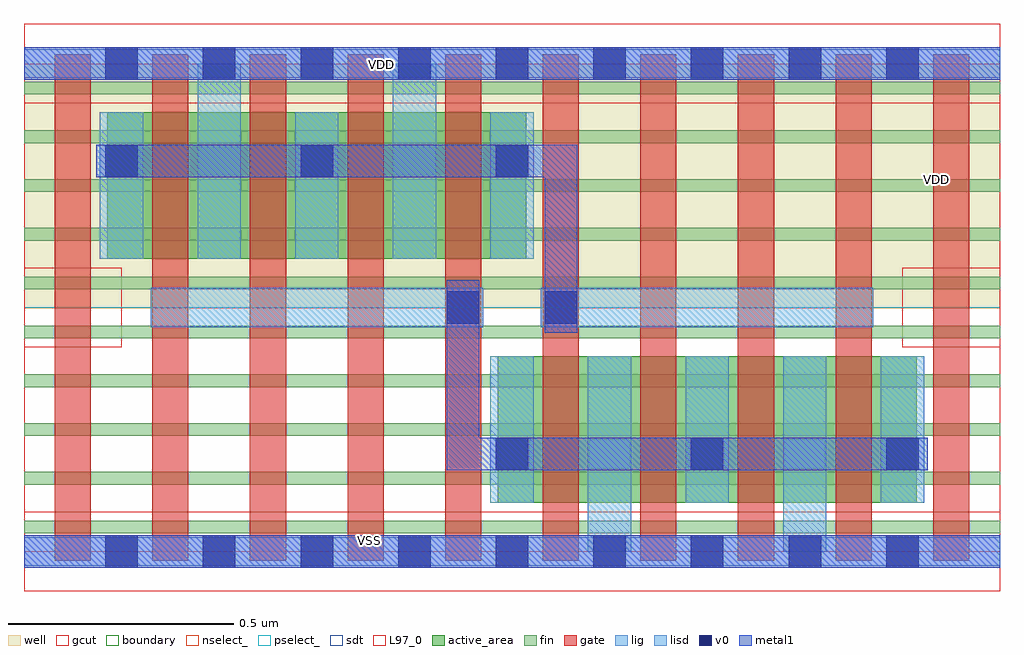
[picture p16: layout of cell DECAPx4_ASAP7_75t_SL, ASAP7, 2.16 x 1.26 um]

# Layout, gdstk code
import gdstk
lib = gdstk.Library(unit=1e-6, precision=2.5e-10)
def R(c, l, rs):  # rectangles x0, y0, x1, y1
    for r in rs: c.add(gdstk.rectangle(r[:2], r[2:], *l))
def A(c, l, x, y, w, h, nx, ny, dx, dy):  # array of equal rectangles
    R(c, l, [(x+i*dx, y+j*dy, x+i*dx+w, y+j*dy+h) for i in range(nx) for j in range(ny)])
def P(c, l, *ps):  # polygons
    for p in ps: c.add(gdstk.Polygon(p, *l))
well = (1, 0)
fin = (2, 0)
gate = (7, 0)
gcut = (10, 0)
active_area = (11, 0)
nselect_ = (12, 0)
pselect_ = (13, 0)
lig = (16, 0)
lisd = (17, 0)
v0 = (18, 0)
metal1 = (19, 0)
sdt = (88, 0)
L97_0 = (97, 0)
boundary = (100, 0)

decapx4_asap7_75t_sl = lib.new_cell('DECAPx4_ASAP7_75t_SL')
R(decapx4_asap7_75t_sl, well, [(0,0.54,2.16,1.08)])
A(decapx4_asap7_75t_sl, fin, 0, 0.04, 2.16, 0.028, 1, 10, 0, 0.108)
A(decapx4_asap7_75t_sl, gate, 0.068, -0.02, 0.08, 1.12, 10, 1, 0.216, 0)
R(decapx4_asap7_75t_sl, gcut, [(0,-0.088,2.16,0.088), (0,0.452,0.216,0.628), (1.944,0.452,2.16,0.628), (0,0.992,2.16,1.168)])
R(decapx4_asap7_75t_sl, active_area, [(1.048,0.108,1.976,0.432), (0.184,0.648,1.112,0.972)])
R(decapx4_asap7_75t_sl, nselect_, [(0,0,2.16,0.54)])
R(decapx4_asap7_75t_sl, pselect_, [(0,0.54,2.16,1.08)])
R(decapx4_asap7_75t_sl, lig, [(0,-0.032,2.16,0.032), (0.28,0.496,1.016,0.584), (1.144,0.496,1.88,0.584), (0,1.048,2.16,1.112)])
A(decapx4_asap7_75t_sl, lisd, 1.032, 0.108, 0.096, 0.324, 3, 1, 0.432, 0)
A(decapx4_asap7_75t_sl, lisd, 0.168, 0.648, 0.096, 0.324, 3, 1, 0.432, 0)
R(decapx4_asap7_75t_sl, lisd, [(1.248,0,1.344,0.432), (1.68,0,1.776,0.432), (0.384,0.648,0.48,1.08), (0.816,0.648,0.912,1.08)])
A(decapx4_asap7_75t_sl, v0, 0.18, -0.036, 0.072, 0.072, 9, 2, 0.216, 1.08)
A(decapx4_asap7_75t_sl, v0, 1.044, 0.18, 0.072, 0.072, 3, 1, 0.432, 0)
A(decapx4_asap7_75t_sl, v0, 0.18, 0.828, 0.072, 0.072, 3, 1, 0.432, 0)
R(decapx4_asap7_75t_sl, v0, [(0.936,0.504,1.008,0.576), (1.152,0.504,1.224,0.576)])
R(decapx4_asap7_75t_sl, metal1, [(0,-0.036,2.16,0.036), (0,1.044,2.16,1.116)])
P(decapx4_asap7_75t_sl, metal1, [(2,0.252),(1.008,0.252),(1.008,0.6),(0.936,0.6),(0.936,0.18),(2,0.18)],
  [(1.224,0.9),(0.16,0.9),(0.16,0.828),(1.152,0.828),(1.152,0.484),(1.224,0.484)])
A(decapx4_asap7_75t_sl, sdt, 1.032, 0.108, 0.096, 0.324, 5, 1, 0.216, 0)
A(decapx4_asap7_75t_sl, sdt, 0.168, 0.648, 0.096, 0.324, 5, 1, 0.216, 0)
R(decapx4_asap7_75t_sl, L97_0, [(0,0,2.16,1.08)])
R(decapx4_asap7_75t_sl, boundary, [(0,0,2.16,1.08)])
decapx4_asap7_75t_sl.add(gdstk.Label('VDD', (0.792,1.078), layer=19, texttype=251))
decapx4_asap7_75t_sl.add(gdstk.Label('VSS', (0.764,0.024), layer=19, texttype=251))
decapx4_asap7_75t_sl.add(gdstk.Label('VDD', (2.02,0.824), layer=1, texttype=251))
decapx4_asap7_75t_sl.add(gdstk.Label('VSS', (2.268,0.836), layer=3, texttype=251))

lib.write_gds('DECAPx4_ASAP7_75t_SL.gds')
